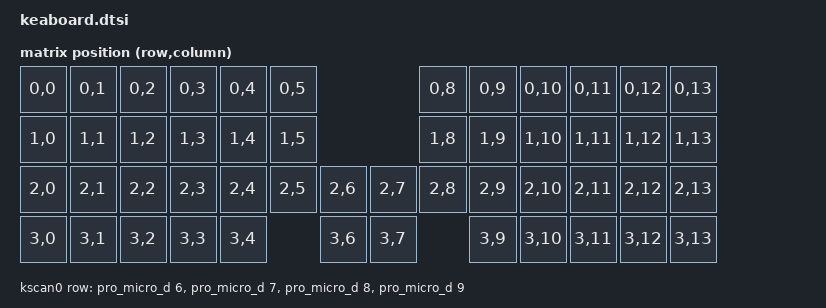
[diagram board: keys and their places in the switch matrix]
/*
 * Copyright (c) 2020 Keith Wade
 *
 * SPDX-License-Identifier: MIT
 */

#include <dt-bindings/zmk/matrix-transform.h>

/ {
	chosen {
		zmk,kscan = &kscan0;
		zmk,matrix_transform = &default_transform;
	};

	default_transform: keymap_transform_0 {
		compatible = "zmk,matrix-transform";
		columns = <14>;
		rows = <4>;
// | SW1  | SW5  | SW9  | SW13 | SW17 | SW21 |                 | SW21 | SW17 | SW13 | SW9  | SW5 | SW1 |
// | SW2  | SW6  | SW10 | SW14 | SW18 | SW22 |                 | SW22 | SW18 | SW14 | SW10 | SW6 | SW2 |
// | SW3  | SW7  | SW11 | SW15 | SW19 | SW23 | SW24 |   | SW24 | SW23 | SW19 | SW15 | SW11 | SW7 | SW3 |
// | SW4  | SW8  | SW12 | SW16 | SW20 |      | SW25 |   | SW25 |      | SW20 | SW16 | SW12 | SW8 | SW4 |
		map = <
RC(0,0) RC(0,1) RC(0,2) RC(0,3) RC(0,4) RC(0,5)                 RC(0,8) RC(0,9) RC(0,10) RC(0,11) RC(0,12) RC(0,13)
RC(1,0) RC(1,1) RC(1,2) RC(1,3) RC(1,4) RC(1,5)                 RC(1,8) RC(1,9) RC(1,10) RC(1,11) RC(1,12) RC(1,13)
RC(2,0) RC(2,1) RC(2,2) RC(2,3) RC(2,4) RC(2,5) RC(2,6) RC(2,7) RC(2,8) RC(2,9) RC(2,10) RC(2,11) RC(2,12) RC(2,13)
RC(3,0) RC(3,1) RC(3,2) RC(3,3) RC(3,4)         RC(3,6) RC(3,7)         RC(3,9) RC(3,10) RC(3,11) RC(3,12) RC(3,13)
		>;
	};

	kscan0: kscan {
		compatible = "zmk,kscan-gpio-matrix";
		label = "KSCAN";

		diode-direction = "col2row";
		row-gpios
			= <&pro_micro_d 6 (GPIO_ACTIVE_HIGH | GPIO_PULL_DOWN)>
			, <&pro_micro_d 7 (GPIO_ACTIVE_HIGH | GPIO_PULL_DOWN)>
			, <&pro_micro_d 8 (GPIO_ACTIVE_HIGH | GPIO_PULL_DOWN)>
			, <&pro_micro_d 9 (GPIO_ACTIVE_HIGH | GPIO_PULL_DOWN)>
			;
	};

	bt_unpair_combo: bt_unpair_combo {
		compatible = "zmk,bt-unpair-combo";
	};
};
